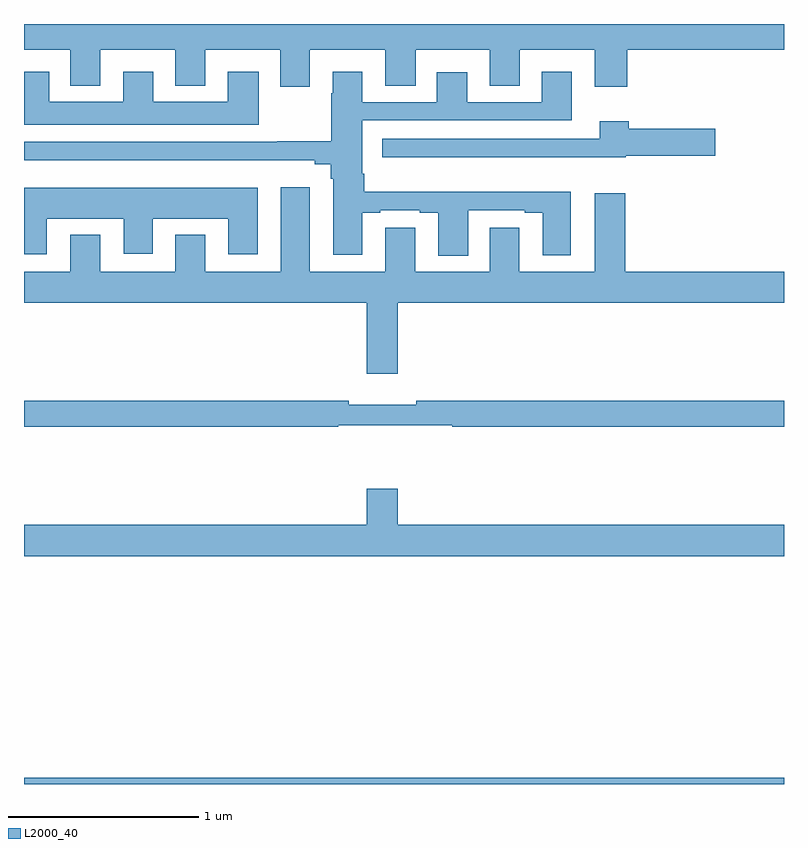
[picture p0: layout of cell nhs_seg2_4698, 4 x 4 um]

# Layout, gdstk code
import gdstk
lib = gdstk.Library(unit=1e-6, precision=1e-09)
def R(c, l, rs):  # rectangles x0, y0, x1, y1
    for r in rs: c.add(gdstk.rectangle(r[:2], r[2:], *l))
def P(c, l, *ps):  # polygons
    for p in ps: c.add(gdstk.Polygon(p, *l))
L2000_40 = (2000, 40)

nhs_seg2_4698 = lib.new_cell('nhs_seg2_4698')
R(nhs_seg2_4698, L2000_40, [(367,615.8,371,615.832)])
P(nhs_seg2_4698, L2000_40, [(368.503,619.664),(368.9,619.664),(368.9,619.474),(369.061,619.474),(369.061,619.664),(369.452,619.664),(369.452,619.474),(369.61,619.474),(369.61,619.664),(370.004,619.664),(370.004,619.47),(370.175,619.47),(370.175,619.664),(371,619.664),(371,619.8),(367,619.8),(367,619.664),(367.244,619.664),(367.244,619.475),(367.402,619.475),(367.402,619.664),(367.796,619.664),(367.796,619.475),(367.954,619.475),(367.954,619.664),(368.348,619.664),(368.348,619.47),(368.503,619.47)],
  [(369.337,618.819),(369.635,618.819),(369.635,618.807),(369.731,618.807),(369.731,618.582),(369.877,618.582),(369.877,618.917),(368.792,618.917),(368.792,619.012),(368.779,619.012),(368.779,619.293),(369.883,619.293),(369.883,619.549),(369.725,619.549),(369.725,619.389),(369.334,619.389),(369.334,619.546),(369.173,619.546),(369.173,619.389),(368.779,619.389),(368.779,619.549),(368.624,619.549),(368.624,619.436),(368.617,619.436),(368.617,619.184),(368.332,619.184),(368.332,619.179),(367,619.179),(367,619.082),(368.531,619.082),(368.531,619.063),(368.615,619.063),(368.615,618.986),(368.627,618.986),(368.627,618.585),(368.779,618.585),(368.779,618.807),(368.875,618.807),(368.875,618.819),(369.083,618.819),(369.083,618.807),(369.179,618.807),(369.179,618.581),(369.337,618.581)],
  [(368.236,619.549),(368.072,619.549),(368.072,619.39),(367.681,619.39),(367.681,619.549),(367.523,619.549),(367.523,619.39),(367.132,619.39),(367.132,619.549),(367,619.549),(367,619.271),(368.236,619.271)],
  [(370.167,619.106),(370.639,619.106),(370.639,619.248),(370.184,619.248),(370.184,619.288),(370.031,619.288),(370.031,619.197),(368.886,619.197),(368.886,619.1),(370.167,619.1)],
  [(368.968,618.332),(371,618.332),(371,618.496),(370.165,618.496),(370.165,618.91),(370.004,618.91),(370.004,618.496),(369.607,618.496),(369.607,618.727),(369.452,618.727),(369.452,618.496),(369.058,618.496),(369.058,618.727),(368.9,618.727),(368.9,618.496),(368.503,618.496),(368.503,618.94),(368.351,618.94),(368.351,618.496),(367.954,618.496),(367.954,618.691),(367.796,618.691),(367.796,618.496),(367.402,618.496),(367.402,618.691),(367.244,618.691),(367.244,618.496),(367,618.496),(367,618.332),(368.804,618.332),(368.804,617.958),(368.968,617.958)],
  [(367.12,618.776),(367.526,618.776),(367.526,618.591),(367.678,618.591),(367.678,618.776),(368.075,618.776),(368.075,618.588),(368.23,618.588),(368.23,618.937),(367,618.937),(367,618.588),(367.12,618.588)],
  [(368.655,617.688),(369.255,617.688),(369.255,617.68),(371,617.68),(371,617.816),(369.064,617.816),(369.064,617.797),(368.708,617.797),(368.708,617.816),(367,617.816),(367,617.68),(368.655,617.68)],
  [(371,617.164),(368.968,617.164),(368.968,617.353),(368.804,617.353),(368.804,617.164),(367,617.164),(367,617),(371,617)])

lib.write_gds('nhs_seg2_4698.gds')
